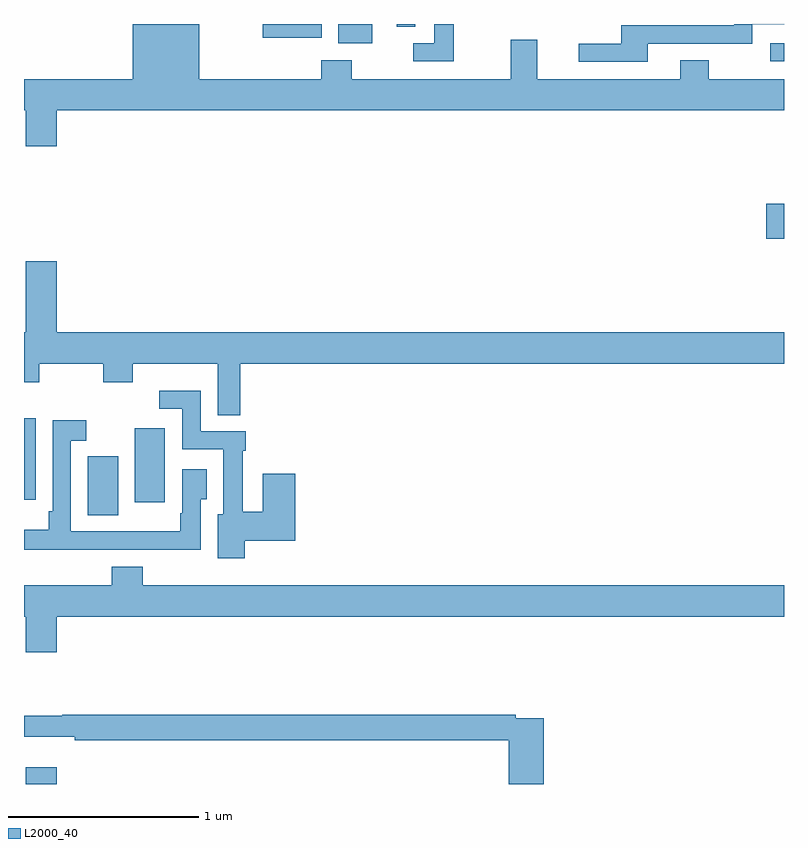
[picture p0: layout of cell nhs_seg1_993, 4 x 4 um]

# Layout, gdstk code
import gdstk
lib = gdstk.Library(unit=1e-6, precision=1e-09)
def R(c, l, rs):  # rectangles x0, y0, x1, y1
    for r in rs: c.add(gdstk.rectangle(r[:2], r[2:], *l))
def P(c, l, *ps):  # polygons
    for p in ps: c.add(gdstk.Polygon(p, *l))
L2000_40 = (2000, 40)

nhs_seg1_993 = lib.new_cell('nhs_seg1_993')
R(nhs_seg1_993, L2000_40, [(165.008,536.199,165.172,536.287), (165.335,537.613,165.496,537.924), (165.584,537.683,165.742,538.072), (165,537.696,165.061,538.123), (168.906,539.069,169,539.252), (168.927,540.003,169,540.099), (166.655,540.098,166.834,540.199), (166.257,540.127,166.566,540.199), (166.962,540.184,167.058,540.199), (167.759,540.197,168.013,540.199)])
P(nhs_seg1_993, L2000_40, [(165.172,539.744),(169,539.744),(169,539.908),(168.603,539.908),(168.603,540.007),(168.455,540.007),(168.455,539.908),(167.701,539.908),(167.701,540.116),(167.561,540.116),(167.561,539.908),(166.725,539.908),(166.725,540.007),(166.565,540.007),(166.565,539.908),(165.922,539.908),(165.922,540.199),(165.572,540.199),(165.572,539.908),(165,539.908),(165,539.744),(165.008,539.744),(165.008,539.556),(165.172,539.556)],
  [(167.263,540.199),(167.159,540.199),(167.159,540.099),(167.049,540.099),(167.049,540.003),(167.263,540.003)],
  [(168.283,540.096),(168.834,540.096),(168.834,540.198),(169,540.198),(169,540.199),(168.738,540.199),(168.738,540.192),(168.143,540.192),(168.143,540.096),(167.919,540.096),(167.919,540),(168.283,540)],
  [(166.138,538.412),(169,538.412),(169,538.576),(165.172,538.576),(165.172,538.951),(165.008,538.951),(165.008,538.576),(165,538.576),(165,538.313),(165.081,538.313),(165.081,538.412),(165.418,538.412),(165.418,538.313),(165.573,538.313),(165.573,538.412),(166.019,538.412),(166.019,538.141),(166.138,538.141)],
  [(166.163,537.479),(166.427,537.479),(166.427,537.832),(166.256,537.832),(166.256,537.632),(166.15,537.632),(166.15,537.953),(166.168,537.953),(166.168,538.056),(165.93,538.056),(165.93,538.27),(165.711,538.27),(165.711,538.173),(165.834,538.173),(165.834,537.96),(166.049,537.96),(166.049,537.619),(166.019,537.619),(166.019,537.387),(166.163,537.387)],
  [(165.343,537.432),(165.709,537.432),(165.709,537.431),(165.93,537.431),(165.93,537.697),(165.961,537.697),(165.961,537.856),(165.834,537.856),(165.834,537.625),(165.822,537.625),(165.822,537.529),(165.592,537.529),(165.592,537.528),(165.246,537.528),(165.246,538.005),(165.328,538.005),(165.328,538.114),(165.15,538.114),(165.15,537.634),(165.13,537.634),(165.13,537.538),(165,537.538),(165,537.431),(165.343,537.431)],
  [(165.172,537.08),(169,537.08),(169,537.244),(165.626,537.244),(165.626,537.343),(165.461,537.343),(165.461,537.244),(165,537.244),(165,537.08),(165.008,537.08),(165.008,536.892),(165.172,536.892)],
  [(167.735,536.544),(167.588,536.544),(167.588,536.564),(165.201,536.564),(165.201,536.557),(165,536.557),(165,536.447),(165.268,536.447),(165.268,536.428),(167.552,536.428),(167.552,536.199),(167.735,536.199)])

lib.write_gds('nhs_seg1_993.gds')
